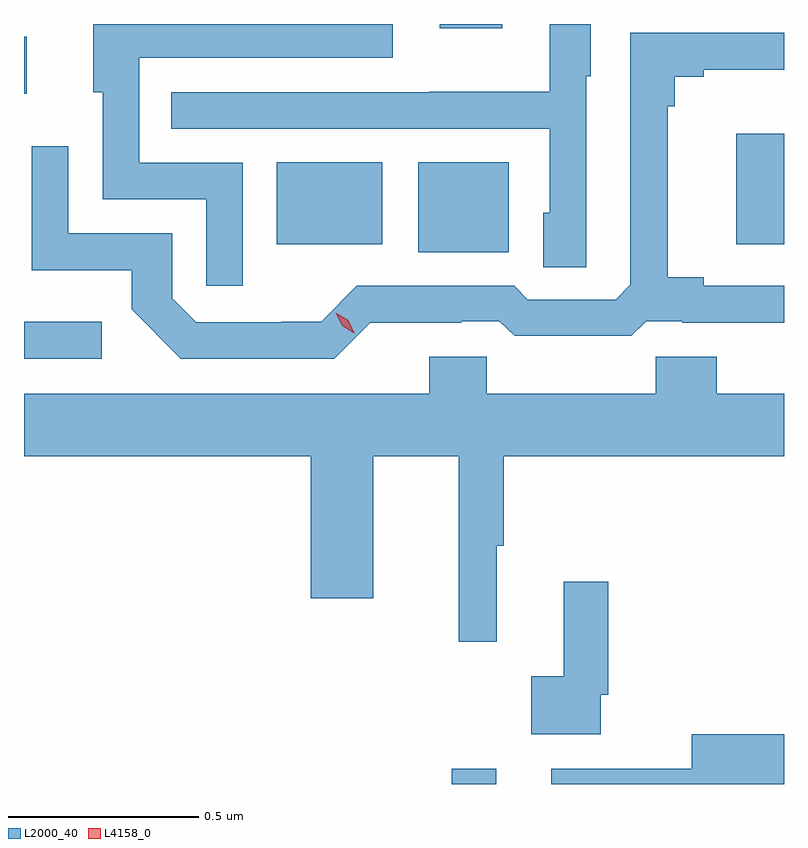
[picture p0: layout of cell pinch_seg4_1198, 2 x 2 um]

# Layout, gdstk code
import gdstk
lib = gdstk.Library(unit=1e-6, precision=1e-09)
def R(c, l, rs):  # rectangles x0, y0, x1, y1
    for r in rs: c.add(gdstk.rectangle(r[:2], r[2:], *l))
def P(c, l, *ps):  # polygons
    for p in ps: c.add(gdstk.Polygon(p, *l))
L2000_40 = (2000, 40)
L4158_0 = (4158, 0)

pinch_seg4_1198 = lib.new_cell('pinch_seg4_1198')
R(pinch_seg4_1198, L2000_40, [(513.031,782.637,513.148,782.677), (511.905,783.756,512.11,783.853), (512.942,784.037,513.181,784.273), (512.57,784.058,512.848,784.273), (513.779,784.058,513.905,784.348), (511.905,784.454,511.912,784.603), (512.999,784.626,513.163,784.637)])
P(pinch_seg4_1198, L2000_40, [(513.384,784.5),(513.397,784.5),(513.397,784.637),(513.288,784.637),(513.288,784.459),(512.971,784.459),(512.971,784.458),(512.293,784.458),(512.293,784.362),(513.288,784.362),(513.288,784.14),(513.272,784.14),(513.272,783.997),(513.384,783.997)],
  [(512.481,784.272),(512.208,784.272),(512.208,784.548),(512.875,784.548),(512.875,784.637),(512.087,784.637),(512.087,784.458),(512.112,784.458),(512.112,784.176),(512.385,784.176),(512.385,783.948),(512.481,783.948)],
  [(512.816,783.851),(513.056,783.851),(513.056,783.855),(513.156,783.855),(513.196,783.816),(513.503,783.816),(513.543,783.855),(513.637,783.855),(513.637,783.851),(513.905,783.851),(513.905,783.948),(513.694,783.948),(513.694,783.971),(513.599,783.971),(513.599,784.421),(513.617,784.421),(513.617,784.498),(513.694,784.498),(513.694,784.517),(513.905,784.517),(513.905,784.614),(513.501,784.614),(513.501,783.951),(513.462,783.912),(513.231,783.912),(513.195,783.948),(512.781,783.948),(512.687,783.854),(512.582,783.854),(512.582,783.852),(512.358,783.852),(512.295,783.915),(512.295,784.086),(512.022,784.086),(512.022,784.315),(511.926,784.315),(511.926,783.989),(512.188,783.989),(512.188,783.887),(512.318,783.756),(512.721,783.756)],
  [(513.149,783.264),(513.167,783.264),(513.167,783.5),(513.905,783.5),(513.905,783.664),(513.728,783.664),(513.728,783.762),(513.568,783.762),(513.568,783.664),(513.123,783.664),(513.123,783.762),(512.972,783.762),(512.972,783.664),(511.905,783.664),(511.905,783.5),(512.66,783.5),(512.66,783.126),(512.824,783.126),(512.824,783.5),(513.049,783.5),(513.049,783.012),(513.149,783.012)],
  [(513.423,782.872),(513.443,782.872),(513.443,783.169),(513.326,783.169),(513.326,782.921),(513.24,782.921),(513.24,782.768),(513.423,782.768)],
  [(513.905,782.768),(513.662,782.768),(513.662,782.677),(513.293,782.677),(513.293,782.637),(513.905,782.637)])
P(pinch_seg4_1198, L4158_0, [(512.774,783.823),(512.743,783.843),(512.726,783.877),(512.726,783.877),(512.726,783.877),(512.758,783.857),(512.774,783.823),(512.774,783.823)])

lib.write_gds('pinch_seg4_1198.gds')
